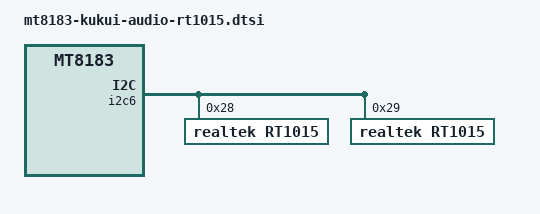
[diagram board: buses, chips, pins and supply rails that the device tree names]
// SPDX-License-Identifier: (GPL-2.0 OR MIT)
/*
 * Google Kukui (and derivatives) audio fragment for rt1015p.
 *
 * Copyright 2020 Google LLC.
 */

&i2c6 {
	rt1015@28 {
		compatible = "realtek,rt1015";
		reg = <0x28>;
	};

	rt1015@29 {
		compatible = "realtek,rt1015";
		reg = <0x29>;
	};
};
